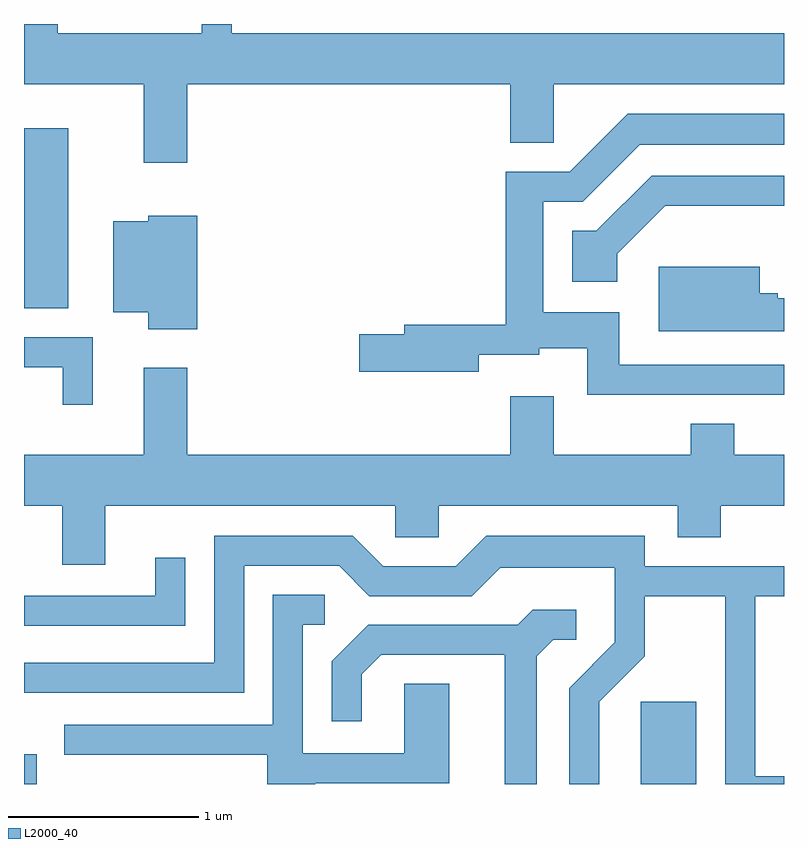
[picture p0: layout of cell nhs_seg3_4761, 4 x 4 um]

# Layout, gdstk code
import gdstk
lib = gdstk.Library(unit=1e-6, precision=1e-09)
def R(c, l, rs):  # rectangles x0, y0, x1, y1
    for r in rs: c.add(gdstk.rectangle(r[:2], r[2:], *l))
def P(c, l, *ps):  # polygons
    for p in ps: c.add(gdstk.Polygon(p, *l))
L2000_40 = (2000, 40)

nhs_seg3_4761 = lib.new_cell('nhs_seg3_4761')
R(nhs_seg3_4761, L2000_40, [(325.611,1117.892,325.679,1118.049), (328.856,1117.892,329.149,1118.324), (325.611,1120.396,325.844,1121.344)])
P(nhs_seg3_4761, L2000_40, [(326.469,1121.576),(328.171,1121.576),(328.171,1121.266),(328.399,1121.266),(328.399,1121.576),(329.611,1121.576),(329.611,1121.844),(326.704,1121.844),(326.704,1121.892),(326.546,1121.892),(326.546,1121.844),(325.789,1121.844),(325.789,1121.892),(325.611,1121.892),(325.611,1121.576),(326.241,1121.576),(326.241,1121.161),(326.469,1121.161)],
  [(329.611,1120.099),(328.744,1120.099),(328.744,1120.374),(328.344,1120.374),(328.344,1120.956),(328.552,1120.956),(328.852,1121.256),(329.611,1121.256),(329.611,1121.419),(328.789,1121.419),(328.484,1121.114),(328.146,1121.114),(328.146,1120.309),(327.611,1120.309),(327.611,1120.259),(327.376,1120.259),(327.376,1120.061),(328.004,1120.061),(328.004,1120.151),(328.324,1120.151),(328.324,1120.186),(328.576,1120.186),(328.576,1119.941),(329.611,1119.941)],
  [(328.734,1120.684),(328.987,1120.936),(329.611,1120.936),(329.611,1121.094),(328.914,1121.094),(328.624,1120.804),(328.496,1120.804),(328.496,1120.536),(328.734,1120.536)],
  [(326.524,1120.884),(326.266,1120.884),(326.266,1120.854),(326.081,1120.854),(326.081,1120.376),(326.266,1120.376),(326.266,1120.286),(326.524,1120.286)],
  [(329.611,1120.449),(329.579,1120.449),(329.579,1120.474),(329.484,1120.474),(329.484,1120.614),(328.951,1120.614),(328.951,1120.276),(329.611,1120.276)],
  [(325.974,1120.244),(325.611,1120.244),(325.611,1120.086),(325.816,1120.086),(325.816,1119.888),(325.974,1119.888)],
  [(326.039,1119.356),(327.566,1119.356),(327.566,1119.191),(327.794,1119.191),(327.794,1119.356),(329.051,1119.356),(329.051,1119.191),(329.279,1119.191),(329.279,1119.356),(329.611,1119.356),(329.611,1119.624),(329.349,1119.624),(329.349,1119.789),(329.121,1119.789),(329.121,1119.624),(328.399,1119.624),(328.399,1119.934),(328.171,1119.934),(328.171,1119.624),(326.469,1119.624),(326.469,1120.084),(326.241,1120.084),(326.241,1119.624),(325.611,1119.624),(325.611,1119.356),(325.811,1119.356),(325.811,1119.046),(326.039,1119.046)],
  [(328.639,1118.324),(328.879,1118.564),(328.879,1118.881),(329.301,1118.881),(329.301,1117.892),(329.611,1117.892),(329.611,1117.934),(329.459,1117.934),(329.459,1118.881),(329.611,1118.881),(329.611,1119.039),(328.879,1119.039),(328.879,1119.199),(328.044,1119.199),(327.884,1119.039),(327.502,1119.039),(327.342,1119.199),(326.611,1119.199),(326.611,1118.529),(325.611,1118.529),(325.611,1118.371),(326.769,1118.371),(326.769,1119.041),(327.269,1119.041),(327.429,1118.881),(327.967,1118.881),(328.117,1119.031),(328.721,1119.031),(328.721,1118.637),(328.481,1118.397),(328.481,1117.892),(328.639,1117.892)],
  [(326.459,1119.083),(326.301,1119.083),(326.301,1118.884),(325.611,1118.884),(325.611,1118.726),(326.459,1118.726)],
  [(327.145,1117.896),(327.849,1117.896),(327.849,1118.419),(327.611,1118.419),(327.611,1118.054),(327.079,1118.054),(327.079,1118.731),(327.193,1118.731),(327.193,1118.889),(326.921,1118.889),(326.921,1118.204),(325.823,1118.204),(325.823,1118.046),(326.891,1118.046),(326.891,1117.892),(327.145,1117.892)],
  [(328.309,1118.564),(328.397,1118.651),(328.518,1118.651),(328.518,1118.809),(328.289,1118.809),(328.209,1118.729),(327.424,1118.729),(327.231,1118.537),(327.231,1118.223),(327.389,1118.223),(327.389,1118.469),(327.492,1118.571),(328.141,1118.571),(328.141,1117.892),(328.309,1117.892)])

lib.write_gds('nhs_seg3_4761.gds')
